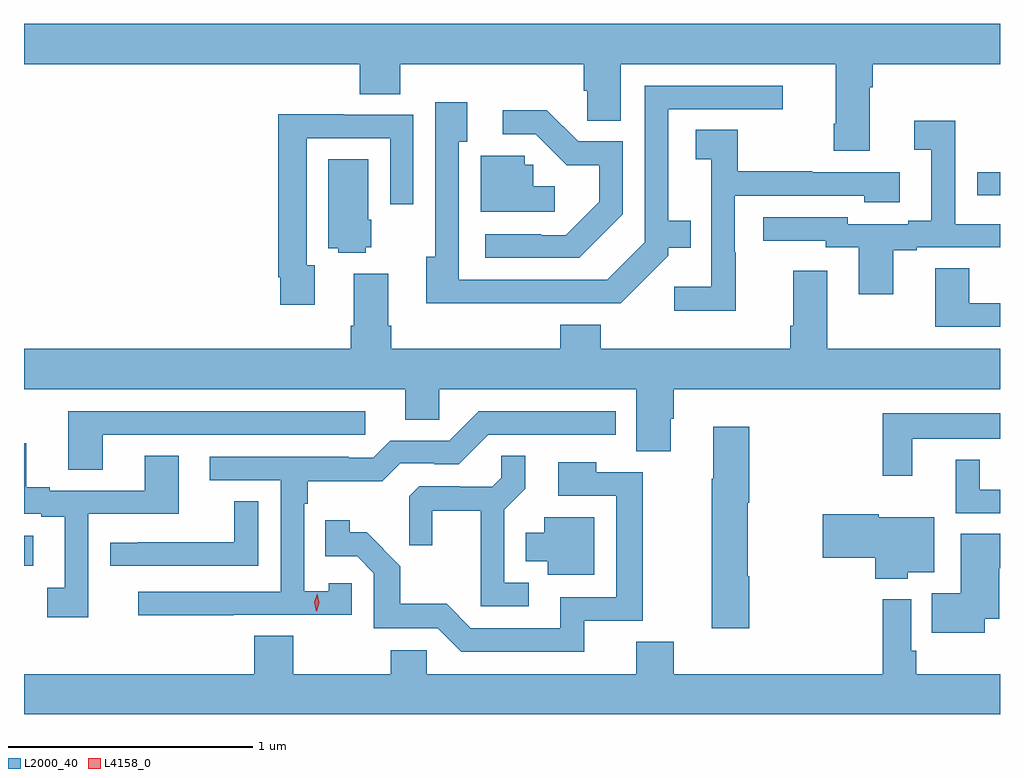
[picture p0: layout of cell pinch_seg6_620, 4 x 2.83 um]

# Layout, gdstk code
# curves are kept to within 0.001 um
import gdstk
lib = gdstk.Library(unit=1e-6, precision=1e-09)
def R(c, l, rs):  # rectangles x0, y0, x1, y1
    for r in rs: c.add(gdstk.rectangle(r[:2], r[2:], *l))
def P(c, l, *ps):  # polygons
    for p in ps: c.add(gdstk.Polygon(p, *l))
L2000_40 = (2000, 40)
L4158_0 = (4158, 0)

pinch_seg6_620 = lib.new_cell('pinch_seg6_620')
R(pinch_seg6_620, L2000_40, [(433.809,963.927,433.846,964.051), (437.715,965.446,437.809,965.541)])
P(pinch_seg6_620, L2000_40, [(433.809,965.984),(435.185,965.984),(435.185,965.86),(435.35,965.86),(435.35,965.984),(436.103,965.984),(436.103,965.874),(436.117,965.874),(436.117,965.752),(436.255,965.752),(436.255,965.984),(437.135,965.984),(437.135,965.74),(437.128,965.74),(437.128,965.628),(437.275,965.628),(437.275,965.888),(437.288,965.888),(437.288,965.984),(437.809,965.984),(437.809,966.148),(433.809,966.148)],
  [(435.923,965.004),(436.254,965.004),(436.449,965.199),(436.449,965.231),(436.541,965.231),(436.541,965.341),(436.45,965.341),(436.45,965.799),(436.918,965.799),(436.918,965.895),(436.353,965.895),(436.353,965.253),(436.2,965.1),(435.591,965.1),(435.591,965.666),(435.625,965.666),(435.625,965.827),(435.495,965.827),(435.495,965.194),(435.458,965.194),(435.458,965.003)],
  [(436.263,965.369),(436.263,965.667),(436.08,965.667),(435.952,965.795),(435.771,965.795),(435.771,965.697),(435.906,965.697),(436.033,965.57),(436.166,965.57),(436.166,965.42),(436.029,965.283),(435.929,965.283),(435.929,965.286),(435.699,965.286),(435.699,965.19),(436.084,965.19)],
  [(435.001,965.159),(434.967,965.159),(434.967,965.679),(435.309,965.679),(435.309,965.409),(435.405,965.409),(435.405,965.775),(435.121,965.775),(435.121,965.779),(434.851,965.779),(434.851,965.11),(434.859,965.11),(434.859,964.998),(435.001,964.998)],
  [(437.371,965.22),(437.467,965.22),(437.467,965.232),(437.809,965.232),(437.809,965.328),(437.625,965.328),(437.625,965.752),(437.457,965.752),(437.457,965.632),(437.528,965.632),(437.528,965.341),(437.432,965.341),(437.432,965.328),(437.184,965.328),(437.184,965.355),(436.839,965.355),(436.839,965.259),(437.094,965.259),(437.094,965.232),(437.231,965.232),(437.231,965.04),(437.371,965.04)],
  [(436.725,965.213),(436.722,965.213),(436.722,965.445),(437.253,965.445),(437.253,965.417),(437.398,965.417),(437.398,965.541),(437.039,965.541),(437.039,965.544),(436.735,965.544),(436.735,965.714),(436.563,965.714),(436.563,965.593),(436.626,965.593),(436.626,965.071),(436.473,965.071),(436.473,964.973),(436.725,964.973)],
  [(435.985,965.482),(435.897,965.482),(435.897,965.571),(435.861,965.571),(435.861,965.607),(435.68,965.607),(435.68,965.379),(435.985,965.379)],
  [(435.21,965.232),(435.232,965.232),(435.232,965.346),(435.22,965.346),(435.22,965.594),(435.056,965.594),(435.056,965.228),(435.096,965.228),(435.096,965.21),(435.21,965.21)],
  [(437.809,965.004),(437.683,965.004),(437.683,965.147),(437.543,965.147),(437.543,964.908),(437.809,964.908)],
  [(436.459,964.53),(436.472,964.53),(436.472,964.652),(437.809,964.652),(437.809,964.816),(437.101,964.816),(437.101,965.137),(436.961,965.137),(436.961,964.912),(436.949,964.912),(436.949,964.816),(436.172,964.816),(436.172,964.915),(436.007,964.915),(436.007,964.816),(435.314,964.816),(435.314,964.912),(435.301,964.912),(435.301,965.125),(435.161,965.125),(435.161,964.912),(435.149,964.912),(435.149,964.816),(433.809,964.816),(433.809,964.652),(435.371,964.652),(435.371,964.525),(435.51,964.525),(435.51,964.652),(436.319,964.652),(436.319,964.396),(436.459,964.396)],
  [(434.131,964.464),(435.208,964.464),(435.208,964.56),(433.991,964.56),(433.991,964.321),(434.131,964.321)],
  [(434.669,963.726),(435.153,963.726),(435.153,963.855),(435.057,963.855),(435.057,963.823),(434.958,963.823),(434.958,964.181),(434.971,964.181),(434.971,964.274),(435.278,964.274),(435.351,964.347),(435.49,964.347),(435.49,964.344),(435.591,964.344),(435.711,964.464),(436.234,964.464),(436.234,964.56),(435.672,964.56),(435.552,964.44),(435.309,964.44),(435.24,964.371),(435.14,964.371),(435.14,964.374),(434.571,964.374),(434.571,964.278),(434.862,964.278),(434.862,963.822),(434.277,963.822),(434.277,963.724),(434.669,963.724)],
  [(437.449,964.448),(437.809,964.448),(437.809,964.552),(437.328,964.552),(437.328,964.296),(437.449,964.296)],
  [(436.781,963.884),(436.776,963.884),(436.776,964.185),(436.781,964.185),(436.781,964.498),(436.634,964.498),(436.634,964.285),(436.627,964.285),(436.627,963.672),(436.781,963.672)],
  [(434.073,964.14),(434.443,964.14),(434.443,964.379),(434.303,964.379),(434.303,964.236),(433.915,964.236),(433.915,964.249),(433.819,964.249),(433.819,964.429),(433.809,964.429),(433.809,964.14),(433.88,964.14),(433.88,964.128),(433.976,964.128),(433.976,963.837),(433.905,963.837),(433.905,963.717),(434.073,963.717)],
  [(435.877,963.858),(435.777,963.858),(435.777,964.157),(435.863,964.243),(435.863,964.379),(435.765,964.379),(435.765,964.288),(435.728,964.251),(435.594,964.251),(435.594,964.254),(435.429,964.254),(435.388,964.213),(435.388,964.011),(435.482,964.011),(435.482,964.154),(435.68,964.154),(435.68,963.762),(435.877,963.762)],
  [(437.809,964.239),(437.725,964.239),(437.725,964.363),(437.627,964.363),(437.627,964.143),(437.809,964.143)],
  [(436.106,963.702),(436.345,963.702),(436.345,964.311),(436.155,964.311),(436.155,964.351),(435.999,964.351),(435.999,964.215),(436.236,964.215),(436.236,963.798),(436.007,963.798),(436.007,963.672),(435.639,963.672),(435.541,963.771),(435.352,963.771),(435.352,963.926),(435.214,964.064),(435.144,964.064),(435.144,964.114),(435.043,964.114),(435.043,963.966),(435.174,963.966),(435.243,963.897),(435.243,963.672),(435.504,963.672),(435.6,963.576),(436.106,963.576)],
  [(434.769,964.193),(434.671,964.193),(434.671,964.023),(434.275,964.023),(434.275,964.022),(434.163,964.022),(434.163,963.927),(434.769,963.927)],
  [(437.43,963.902),(437.539,963.902),(437.539,964.126),(437.313,964.126),(437.313,964.139),(437.082,964.139),(437.082,963.961),(437.297,963.961),(437.297,963.875),(437.43,963.875)],
  [(436.147,964.126),(435.941,964.126),(435.941,964.063),(435.866,964.063),(435.866,963.947),(435.956,963.947),(435.956,963.89),(436.147,963.89)],
  [(437.746,963.71),(437.806,963.71),(437.806,963.918),(437.809,963.918),(437.809,964.058),(437.648,964.058),(437.648,963.814),(437.53,963.814),(437.53,963.653),(437.746,963.653)],
  [(437.809,963.484),(437.465,963.484),(437.465,963.58),(437.445,963.58),(437.445,963.79),(437.329,963.79),(437.329,963.484),(436.472,963.484),(436.472,963.617),(436.319,963.617),(436.319,963.484),(435.459,963.484),(435.459,963.582),(435.313,963.582),(435.313,963.484),(434.913,963.484),(434.913,963.641),(434.753,963.641),(434.753,963.484),(433.809,963.484),(433.809,963.32),(437.809,963.32)])
P(pinch_seg6_620, L4158_0, [(435.007,963.741),(434.999,963.778),(435.01,963.813),(435.01,963.813),(435.01,963.813),(435.019,963.777),(435.008,963.741),(435.008,963.741)])

lib.write_gds('pinch_seg6_620.gds')
